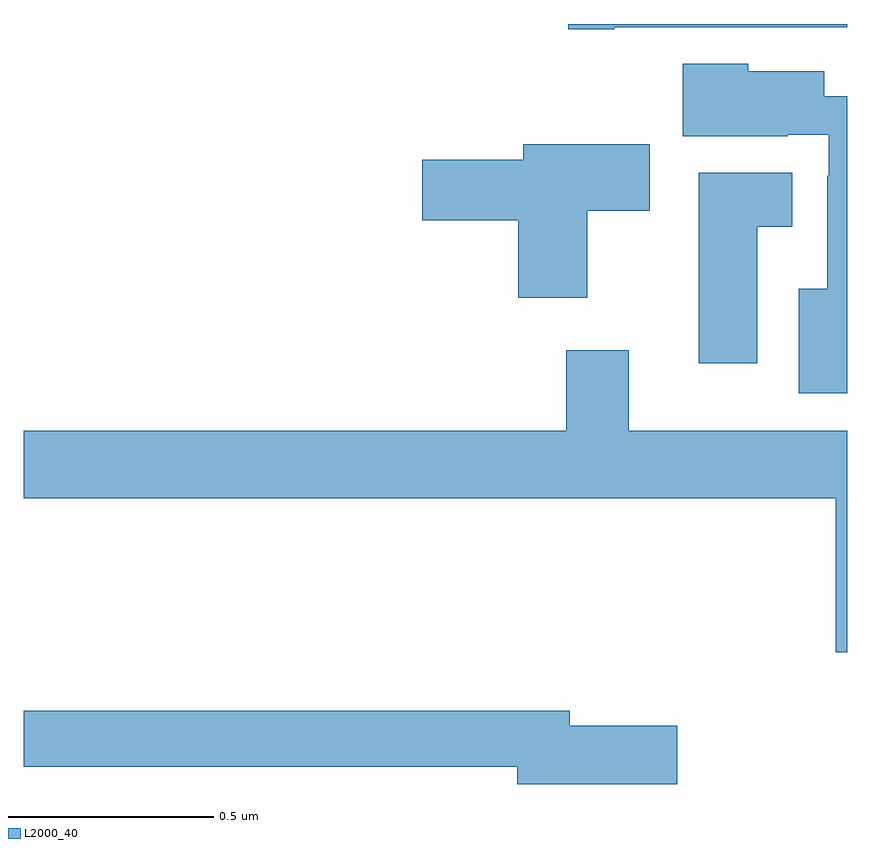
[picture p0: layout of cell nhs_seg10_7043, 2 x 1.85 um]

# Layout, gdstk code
import gdstk
lib = gdstk.Library(unit=1e-6, precision=1e-09)
def P(c, l, *ps):  # polygons
    for p in ps: c.add(gdstk.Polygon(p, *l))
L2000_40 = (2000, 40)

nhs_seg10_7043 = lib.new_cell('nhs_seg10_7043')
P(nhs_seg10_7043, L2000_40, [(200.434,1269.492),(201,1269.492),(201,1269.5),(200.322,1269.5),(200.322,1269.487),(200.434,1269.487)],
  [(201,1269.324),(200.944,1269.324),(200.944,1269.385),(200.76,1269.385),(200.76,1269.403),(200.6,1269.403),(200.6,1269.227),(200.855,1269.227),(200.855,1269.231),(200.955,1269.231),(200.955,1269.131),(200.951,1269.131),(200.951,1268.857),(200.882,1268.857),(200.882,1268.603),(201,1268.603)],
  [(200.368,1269.046),(200.521,1269.046),(200.521,1269.208),(200.213,1269.208),(200.213,1269.17),(199.968,1269.17),(199.968,1269.023),(200.201,1269.023),(200.201,1268.835),(200.368,1268.835)],
  [(200.782,1269.008),(200.866,1269.008),(200.866,1269.139),(200.639,1269.139),(200.639,1268.676),(200.782,1268.676)],
  [(201,1268.512),(200.47,1268.512),(200.47,1268.707),(200.318,1268.707),(200.318,1268.512),(199,1268.512),(199,1268.348),(200.972,1268.348),(200.972,1267.974),(201,1267.974)],
  [(200.587,1267.796),(200.326,1267.796),(200.326,1267.832),(199,1267.832),(199,1267.696),(200.198,1267.696),(200.198,1267.654),(200.587,1267.654)])

lib.write_gds('nhs_seg10_7043.gds')
